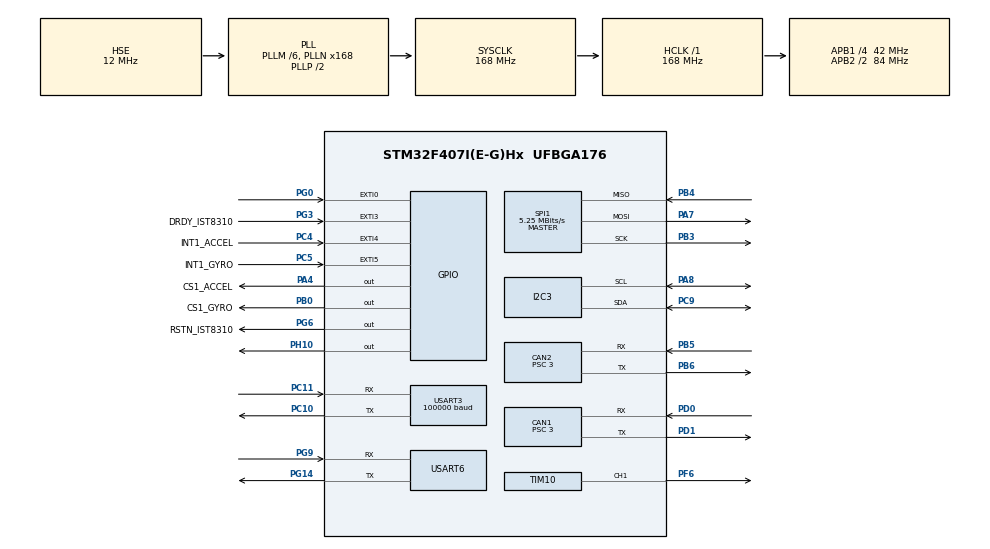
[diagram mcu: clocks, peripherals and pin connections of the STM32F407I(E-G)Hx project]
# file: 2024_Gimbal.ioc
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CAN1.ABOM=ENABLE
CAN1.BS1=CAN_BS1_9TQ
CAN1.BS2=CAN_BS2_4TQ
CAN1.CalculateBaudRate=1000000
CAN1.CalculateTimeBit=1000
CAN1.CalculateTimeQuantum=71.42857142857143
CAN1.Prescaler=3
CAN2.ABOM=ENABLE
CAN2.BS1=CAN_BS1_9TQ
CAN2.BS2=CAN_BS2_4TQ
CAN2.CalculateBaudRate=1000000
CAN2.CalculateTimeBit=1000
CAN2.CalculateTimeQuantum=71.42857142857143
CAN2.Prescaler=3
Dma.Request0=USART3_RX
Dma.Request1=SPI1_RX
Dma.Request2=SPI1_TX
Dma.SPI1_RX.1.Direction=DMA_PERIPH_TO_MEMORY
Dma.SPI1_RX.1.FIFOMode=DMA_FIFOMODE_DISABLE
Dma.SPI1_RX.1.Instance=DMA2_Stream2
Dma.SPI1_RX.1.MemDataAlignment=DMA_MDATAALIGN_BYTE
Dma.SPI1_RX.1.MemInc=DMA_MINC_ENABLE
Dma.SPI1_RX.1.Mode=DMA_NORMAL
Dma.SPI1_RX.1.PeriphDataAlignment=DMA_PDATAALIGN_BYTE
Dma.SPI1_RX.1.PeriphInc=DMA_PINC_DISABLE
Dma.SPI1_RX.1.Priority=DMA_PRIORITY_VERY_HIGH
Dma.SPI1_TX.2.Direction=DMA_MEMORY_TO_PERIPH
Dma.SPI1_TX.2.FIFOMode=DMA_FIFOMODE_DISABLE
Dma.SPI1_TX.2.Instance=DMA2_Stream3
Dma.SPI1_TX.2.MemDataAlignment=DMA_MDATAALIGN_BYTE
Dma.SPI1_TX.2.MemInc=DMA_MINC_ENABLE
Dma.SPI1_TX.2.Mode=DMA_NORMAL
Dma.SPI1_TX.2.PeriphDataAlignment=DMA_PDATAALIGN_BYTE
Dma.SPI1_TX.2.PeriphInc=DMA_PINC_DISABLE
Dma.SPI1_TX.2.Priority=DMA_PRIORITY_HIGH
Dma.USART3_RX.0.Direction=DMA_PERIPH_TO_MEMORY
Dma.USART3_RX.0.FIFOMode=DMA_FIFOMODE_DISABLE
Dma.USART3_RX.0.Instance=DMA1_Stream1
Dma.USART3_RX.0.MemDataAlignment=DMA_MDATAALIGN_BYTE
Dma.USART3_RX.0.MemInc=DMA_MINC_ENABLE
Dma.USART3_RX.0.Mode=DMA_CIRCULAR
Dma.USART3_RX.0.PeriphDataAlignment=DMA_PDATAALIGN_BYTE
Dma.USART3_RX.0.PeriphInc=DMA_PINC_DISABLE
Dma.USART3_RX.0.Priority=DMA_PRIORITY_VERY_HIGH
FREERTOS.INCLUDE_vTaskDelayUntil=1
FREERTOS.INCLUDE_xTaskGetHandle=1
FREERTOS.Tasks01=defaultTask,0,128,StartDefaultTask,Default,NULL,Dynamic,NULL,NULL;gimbal_motor,2,2048,Gimbal_Motor_Task,As weak,NULL,Dynamic,NULL,NULL;printf,-3,256,Printf_Task,As weak,NULL,Dynamic,NULL,NULL;imu_task,2,2048,INS_Task,As weak,NULL,Static,imu_taskBuffer,imu_taskControlBlock
I2C3.I2C_Mode=I2C_Fast
Mcu.Family=STM32F4
Mcu.Name=STM32F407I(E-G)Hx
Mcu.Package=UFBGA176
NVIC.CAN1_RX0_IRQn=true\:5\:0\:false\:false\:true\:true\:true\:true\:true
NVIC.CAN2_RX1_IRQn=true\:5\:0\:false\:false\:true\:true\:true\:true\:true
NVIC.DMA1_Stream1_IRQn=true\:5\:0\:false\:false\:true\:true\:false\:true\:true
NVIC.DMA2_Stream2_IRQn=true\:5\:0\:false\:false\:true\:true\:false\:true\:true
NVIC.DMA2_Stream3_IRQn=true\:5\:0\:false\:false\:true\:true\:false\:true\:true
NVIC.EXTI0_IRQn=true\:5\:0\:false\:false\:true\:true\:true\:true\:true
NVIC.EXTI3_IRQn=true\:5\:0\:false\:false\:true\:true\:true\:true\:true
NVIC.EXTI4_IRQn=true\:5\:0\:false\:false\:true\:true\:true\:true\:true
NVIC.EXTI9_5_IRQn=true\:5\:0\:false\:false\:true\:true\:true\:true\:true
NVIC.PriorityGroup=NVIC_PRIORITYGROUP_4
NVIC.USART3_IRQn=true\:5\:0\:false\:false\:true\:true\:true\:true\:true
NVIC.USART6_IRQn=true\:5\:0\:false\:false\:true\:true\:true\:true\:true
PA13.Mode=Serial_Wire
PA13.Signal=SYS_JTMS-SWDIO
PA14.Mode=Serial_Wire
PA14.Signal=SYS_JTCK-SWCLK
PA4.GPIO_Label=CS1_ACCEL
PA4.GPIO_PuPd=GPIO_PULLUP
PA4.GPIO_Speed=GPIO_SPEED_FREQ_HIGH
PA4.PinState=GPIO_PIN_SET
PA4.Signal=GPIO_Output
PA7.GPIO_PuPd=GPIO_PULLUP
PA7.Mode=Full_Duplex_Master
PA7.Signal=SPI1_MOSI
PA8.GPIO_Pu=GPIO_PULLUP
PA8.Mode=I2C
PA8.Signal=I2C3_SCL
PB0.GPIO_Label=CS1_GYRO
PB0.GPIO_PuPd=GPIO_PULLUP
PB0.GPIO_Speed=GPIO_SPEED_FREQ_HIGH
PB0.PinState=GPIO_PIN_SET
PB0.Signal=GPIO_Output
PB3.GPIO_PuPd=GPIO_PULLUP
PB3.Mode=Full_Duplex_Master
PB3.Signal=SPI1_SCK
PB4.GPIO_PuPd=GPIO_PULLUP
PB4.Mode=Full_Duplex_Master
PB4.Signal=SPI1_MISO
PB5.Mode=CAN_Activate
PB5.Signal=CAN2_RX
PB6.Mode=CAN_Activate
PB6.Signal=CAN2_TX
PC10.Mode=Asynchronous
PC10.Signal=USART3_TX
PC11.Mode=Asynchronous
PC11.Signal=USART3_RX
PC14-OSC32_IN.Mode=LSE-External-Oscillator
PC14-OSC32_IN.Signal=RCC_OSC32_IN
PC15-OSC32_OUT.Mode=LSE-External-Oscillator
PC15-OSC32_OUT.Signal=RCC_OSC32_OUT
PC4.GPIO_Label=INT1_ACCEL
PC4.Signal=GPXTI4
PC5.GPIO_Label=INT1_GYRO
PC5.Signal=GPXTI5
PC9.GPIO_Pu=GPIO_PULLUP
PC9.Mode=I2C
PC9.Signal=I2C3_SDA
PD0.Mode=CAN_Activate
PD0.Signal=CAN1_RX
PD1.Mode=CAN_Activate
PD1.Signal=CAN1_TX
PF6.Signal=S_TIM10_CH1
PG0.GPIO_ModeDefaultEXTI=GPIO_MODE_IT_FALLING
PG0.GPIO_PuPd=GPIO_PULLUP
PG0.Signal=GPXTI0
PG14.Mode=Asynchronous
PG14.Signal=USART6_TX
PG3.GPIO_Label=DRDY_IST8310
PG3.GPIO_PuPd=GPIO_PULLUP
PG3.Signal=GPXTI3
PG6.GPIO_Label=RSTN_IST8310
PG6.GPIO_PuPd=GPIO_PULLUP
PG6.GPIO_Speed=GPIO_SPEED_FREQ_MEDIUM
PG6.PinState=GPIO_PIN_SET
PG6.Signal=GPIO_Output
PG9.Mode=Asynchronous
PG9.Signal=USART6_RX
PH0-OSC_IN.Mode=HSE-External-Oscillator
PH0-OSC_IN.Signal=RCC_OSC_IN
PH1-OSC_OUT.Mode=HSE-External-Oscillator
PH1-OSC_OUT.Signal=RCC_OSC_OUT
PH10.Signal=GPIO_Output
ProjectManager.HeapSize=0x200
ProjectManager.StackSize=0x400
ProjectManager.TargetToolchain=STM32CubeIDE
RCC.48MHZClocksFreq_Value=84000000
RCC.AHBFreq_Value=168000000
RCC.APB1CLKDivider=RCC_HCLK_DIV4
RCC.APB1Freq_Value=42000000
RCC.APB1TimFreq_Value=84000000
RCC.APB2CLKDivider=RCC_HCLK_DIV2
RCC.APB2Freq_Value=84000000
RCC.APB2TimFreq_Value=168000000
RCC.CortexFreq_Value=168000000
RCC.HCLKFreq_Value=168000000
RCC.HSE_VALUE=12000000
RCC.HSI_VALUE=16000000
RCC.PLLM=6
RCC.PLLN=168
RCC.PLLSourceVirtual=RCC_PLLSOURCE_HSE
RCC.SYSCLKFreq_VALUE=168000000
RCC.SYSCLKSource=RCC_SYSCLKSOURCE_PLLCLK
RCC.VCOOutputFreq_Value=336000000
SH.S_TIM10_CH1.0=TIM10_CH1,PWM Generation1 CH1
SPI1.BaudRatePrescaler=SPI_BAUDRATEPRESCALER_16
SPI1.CLKPhase=SPI_PHASE_2EDGE
SPI1.CLKPolarity=SPI_POLARITY_HIGH
SPI1.CalculateBaudRate=5.25 MBits/s
SPI1.Direction=SPI_DIRECTION_2LINES
SPI1.Mode=SPI_MODE_MASTER
SPI1.VirtualType=VM_MASTER
STMicroelectronics.X-CUBE-ALGOBUILD.1.4.0.LibraryCcDSPOoLibraryJjDSPOoLibrary=true
TIM10.Channel=TIM_CHANNEL_1
TIM10.Period=1000-1
TIM10.Prescaler=168-1
USART3.BaudRate=100000
USART3.Parity=PARITY_NONE
USART3.VirtualMode=VM_ASYNC
USART6.VirtualMode=VM_ASYNC
VP_FATFS_VS_Generic.Mode=User_defined
VP_FREERTOS_VS_CMSIS_V1.Mode=CMSIS_V1
VP_STMicroelectronics.X-CUBE-ALGOBUILD_VS_DSPOoLibraryJjLibrary_1.4.0_1.4.0.Mode=DSPOoLibraryJjLibrary
VP_TIM10_VS_ClockSourceINT.Mode=Enable_Timer
board=custom

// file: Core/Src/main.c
/* USER CODE BEGIN Header */
/**
  ******************************************************************************
  * @file           : main.c
  * @brief          : Main program body
  ******************************************************************************
  * @attention
  *
  * Copyright (c) 2024 STMicroelectronics.
  * All rights reserved.
  *
  * This software is licensed under terms that can be found in the LICENSE file
  * in the root directory of this software component.
  * If no LICENSE file comes with this software, it is provided AS-IS.
  *
  ******************************************************************************
  */
/* USER CODE END Header */
#include "main.h"
#include "cmsis_os.h"
#include "can.h"
#include "dma.h"
#include "fatfs.h"
#include "i2c.h"
#include "spi.h"
#include "tim.h"
#include "usart.h"
#include "gpio.h"

void SystemClock_Config(void);
void MX_FREERTOS_Init(void);

/* USER CODE BEGIN 0 */
void main_Init(void)
{
    HAL_Init();
    SystemClock_Config();
    MX_GPIO_Init();
    MX_DMA_Init();
    MX_USART6_UART_Init();
    MX_USART3_UART_Init();
    MX_CAN1_Init();
    MX_CAN2_Init();
    MX_SPI1_Init();
    MX_TIM10_Init();
    MX_I2C3_Init();

}

void os_Init(void)
{
    MX_FREERTOS_Init();
    osKernelStart();
}
/* USER CODE END 0 */

void SystemClock_Config(void)
{
  RCC_OscInitTypeDef RCC_OscInitStruct = {0};
  RCC_ClkInitTypeDef RCC_ClkInitStruct = {0};

  /** Configure the main internal regulator output voltage
  */
  __HAL_RCC_PWR_CLK_ENABLE();
  __HAL_PWR_VOLTAGESCALING_CONFIG(PWR_REGULATOR_VOLTAGE_SCALE1);

  /** Initializes the RCC Oscillators according to the specified parameters
  * in the RCC_OscInitTypeDef structure.
  */
  RCC_OscInitStruct.OscillatorType = RCC_OSCILLATORTYPE_HSE;
  RCC_OscInitStruct.HSEState = RCC_HSE_ON;
  RCC_OscInitStruct.PLL.PLLState = RCC_PLL_ON;
  RCC_OscInitStruct.PLL.PLLSource = RCC_PLLSOURCE_HSE;
  RCC_OscInitStruct.PLL.PLLM = 6;
  RCC_OscInitStruct.PLL.PLLN = 168;
  RCC_OscInitStruct.PLL.PLLP = RCC_PLLP_DIV2;
  RCC_OscInitStruct.PLL.PLLQ = 4;
  if (HAL_RCC_OscConfig(&RCC_OscInitStruct) != HAL_OK)
  {
    Error_Handler();
  }

  /** Initializes the CPU, AHB and APB buses clocks
  */
  RCC_ClkInitStruct.ClockType = RCC_CLOCKTYPE_HCLK|RCC_CLOCKTYPE_SYSCLK
                              |RCC_CLOCKTYPE_PCLK1|RCC_CLOCKTYPE_PCLK2;
  RCC_ClkInitStruct.SYSCLKSource = RCC_SYSCLKSOURCE_PLLCLK;
  RCC_ClkInitStruct.AHBCLKDivider = RCC_SYSCLK_DIV1;
  RCC_ClkInitStruct.APB1CLKDivider = RCC_HCLK_DIV4;
  RCC_ClkInitStruct.APB2CLKDivider = RCC_HCLK_DIV2;

  if (HAL_RCC_ClockConfig(&RCC_ClkInitStruct, FLASH_LATENCY_5) != HAL_OK)
  {
    Error_Handler();
  }
}

void Error_Handler(void)
{
  __disable_irq();
  while (1)
  {
  }
}

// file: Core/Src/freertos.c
/* USER CODE BEGIN Header */
/**
  ******************************************************************************
  * File Name          : freertos.c
  * Description        : Code for freertos applications
  ******************************************************************************
  * @attention
  *
  * Copyright (c) 2024 STMicroelectronics.
  * All rights reserved.
  *
  * This software is licensed under terms that can be found in the LICENSE file
  * in the root directory of this software component.
  * If no LICENSE file comes with this software, it is provided AS-IS.
  *
  ******************************************************************************
  */
/* USER CODE END Header */

#include "FreeRTOS.h"
#include "task.h"
#include "main.h"
#include "cmsis_os.h"

/* USER CODE BEGIN Includes */
#include "INS_task.h"
/* USER CODE END Includes */

/* USER CODE BEGIN Variables */
float pitch_angle = 0.0;
float yaw_angle = 0.0;
float roll_angle = 0.0;
/* USER CODE END Variables */
osThreadId defaultTaskHandle;
osThreadId gimbal_motorHandle;
osThreadId printfHandle;
osThreadId imu_taskHandle;
uint32_t imu_taskBuffer[ 2048 ];
osStaticThreadDef_t imu_taskControlBlock;

void StartDefaultTask(void const * argument);
void Gimbal_Motor_Task(void const * argument);
void Printf_Task(void const * argument);
void INS_Task(void const * argument);

void MX_FREERTOS_Init(void); /* (MISRA C 2004 rule 8.1) */

/* GetIdleTaskMemory prototype (linked to static allocation support) */
void vApplicationGetIdleTaskMemory( StaticTask_t **ppxIdleTaskTCBBuffer, StackType_t **ppxIdleTaskStackBuffer, uint32_t *pulIdleTaskStackSize );

/* USER CODE BEGIN GET_IDLE_TASK_MEMORY */
static StaticTask_t xIdleTaskTCBBuffer;
static StackType_t xIdleStack[configMINIMAL_STACK_SIZE];

void vApplicationGetIdleTaskMemory( StaticTask_t **ppxIdleTaskTCBBuffer, StackType_t **ppxIdleTaskStackBuffer, uint32_t *pulIdleTaskStackSize )
{
  *ppxIdleTaskTCBBuffer = &xIdleTaskTCBBuffer;
  *ppxIdleTaskStackBuffer = &xIdleStack[0];
  *pulIdleTaskStackSize = configMINIMAL_STACK_SIZE;
  /* place for user code */
}
/* USER CODE END GET_IDLE_TASK_MEMORY */

void MX_FREERTOS_Init(void) {

  /* Create the thread(s) */
  /* definition and creation of defaultTask */
  osThreadDef(defaultTask, StartDefaultTask, osPriorityNormal, 0, 128);
  defaultTaskHandle = osThreadCreate(osThread(defaultTask), NULL);

  /* definition and creation of gimbal_motor */
  osThreadDef(gimbal_motor, Gimbal_Motor_Task, osPriorityHigh, 0, 2048);
  gimbal_motorHandle = osThreadCreate(osThread(gimbal_motor), NULL);

  /* definition and creation of printf */
  osThreadDef(printf, Printf_Task, osPriorityIdle, 0, 256);
  printfHandle = osThreadCreate(osThread(printf), NULL);

  /* definition and creation of imu_task */
  osThreadStaticDef(imu_task, INS_Task, osPriorityHigh, 0, 2048, imu_taskBuffer, &imu_taskControlBlock);
  imu_taskHandle = osThreadCreate(osThread(imu_task), NULL);

}

void StartDefaultTask(void const * argument)
{
  for(;;)
  {
      osDelay(1);
  }
}

__weak void Gimbal_Motor_Task(void const * argument)
{
  for(;;)
  {
    osDelay(1);
  }
}

__weak void Printf_Task(void const * argument)
{
  for(;;)
  {
    osDelay(1);
  }
}

__weak void INS_Task(void const * argument)
{
  for(;;)
  {
    osDelay(1);
  }
}
